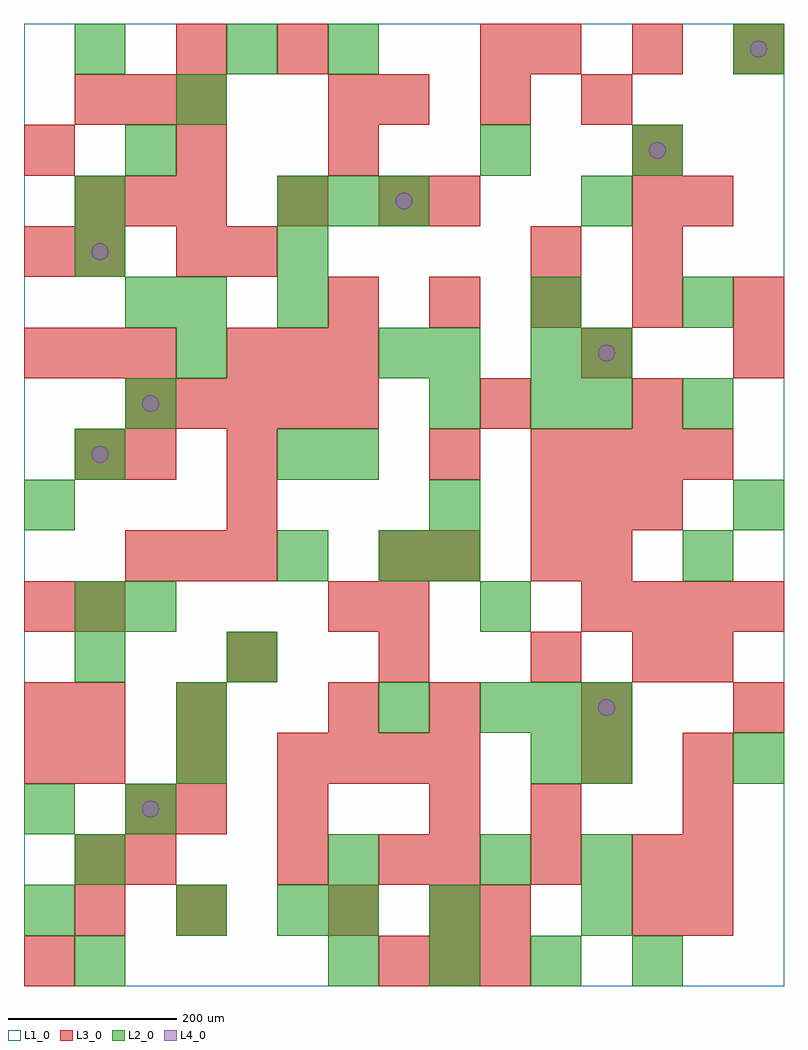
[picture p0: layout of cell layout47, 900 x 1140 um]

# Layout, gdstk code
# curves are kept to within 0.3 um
import gdstk
lib = gdstk.Library(unit=1e-6, precision=1e-09)
def R(c, l, rs):  # rectangles x0, y0, x1, y1
    for r in rs: c.add(gdstk.rectangle(r[:2], r[2:], *l))
def A(c, l, x, y, w, h, nx, ny, dx, dy):  # array of equal rectangles
    R(c, l, [(x+i*dx, y+j*dy, x+i*dx+w, y+j*dy+h) for i in range(nx) for j in range(ny)])
def P(c, l, *ps):  # polygons
    for p in ps: c.add(gdstk.Polygon(p, *l))
L1_0 = (1, 0)
L2_0 = (2, 0)
L3_0 = (3, 0)
L4_0 = (4, 0)

layout47 = lib.new_cell('layout47')
R(layout47, L1_0, [(0,0,900,1140)])
A(layout47, L2_0, 360, 0, 60, 60, 4, 1, 120, 0)
A(layout47, L2_0, 360, 120, 60, 60, 1, 3, 0, 480)
A(layout47, L2_0, 120, 180, 60, 60, 1, 3, 0, 240)
A(layout47, L2_0, 540, 300, 60, 60, 3, 1, 60, 0)
A(layout47, L2_0, 600, 660, 60, 60, 1, 3, 0, 60)
A(layout47, L2_0, 300, 900, 60, 60, 3, 1, 60, 0)
R(layout47, L2_0, [(60,0,120,60), (0,60,60,120), (180,60,240,120), (300,60,360,120), (360,60,420,120), (480,60,540,120), (660,60,720,120), (60,120,120,180), (540,120,600,180), (660,120,720,180), (0,180,60,240), (180,240,240,300), (600,240,660,300), (660,240,720,300), (840,240,900,300), (180,300,240,360), (420,300,480,360), (60,360,120,420), (240,360,300,420), (60,420,120,480), (540,420,600,480), (300,480,360,540), (420,480,480,540), (480,480,540,540), (780,480,840,540), (0,540,60,600), (480,540,540,600), (840,540,900,600), (60,600,120,660), (300,600,360,660), (480,660,540,720), (660,660,720,720), (780,660,840,720), (180,720,240,780), (420,720,480,780), (480,720,540,780), (660,720,720,780), (120,780,180,840), (180,780,240,840), (300,780,360,840), (780,780,840,840), (60,840,120,900), (300,840,360,900), (60,900,120,960), (660,900,720,960), (120,960,180,1020), (540,960,600,1020), (720,960,780,1020), (180,1020,240,1080), (60,1080,120,1140), (240,1080,300,1140), (840,1080,900,1140)])
A(layout47, L3_0, 420, 0, 60, 60, 3, 1, 60, 0)
A(layout47, L3_0, 180, 60, 60, 60, 1, 3, 0, 120)
A(layout47, L3_0, 720, 60, 60, 60, 1, 3, 0, 300)
A(layout47, L3_0, 780, 60, 60, 60, 1, 4, 0, 60)
A(layout47, L3_0, 480, 120, 60, 60, 3, 1, 120, 0)
A(layout47, L3_0, 60, 240, 60, 60, 3, 1, 120, 0)
A(layout47, L3_0, 360, 240, 60, 60, 3, 1, 60, 0)
A(layout47, L3_0, 660, 240, 60, 60, 1, 3, 0, 240)
A(layout47, L3_0, 480, 300, 60, 60, 3, 1, 180, 0)
A(layout47, L3_0, 240, 360, 60, 60, 3, 1, 180, 0)
A(layout47, L3_0, 660, 420, 60, 60, 4, 1, 60, 0)
A(layout47, L3_0, 120, 480, 60, 60, 3, 1, 60, 0)
A(layout47, L3_0, 600, 540, 60, 60, 3, 1, 60, 0)
A(layout47, L3_0, 600, 600, 60, 60, 4, 1, 60, 0)
A(layout47, L3_0, 120, 660, 60, 60, 5, 1, 60, 0)
A(layout47, L3_0, 0, 720, 60, 60, 3, 1, 60, 0)
A(layout47, L3_0, 240, 720, 60, 60, 3, 1, 60, 0)
A(layout47, L3_0, 360, 780, 60, 60, 5, 1, 120, 0)
A(layout47, L3_0, 720, 840, 60, 60, 1, 3, 0, 60)
A(layout47, L3_0, 60, 900, 60, 60, 3, 2, 60, 120)
A(layout47, L3_0, 0, 960, 60, 60, 3, 1, 180, 0)
A(layout47, L3_0, 420, 1020, 60, 60, 3, 1, 120, 0)
A(layout47, L3_0, 600, 1080, 60, 60, 3, 1, 120, 0)
R(layout47, L3_0, [(0,0,60,60), (60,60,120,120), (360,60,420,120), (480,60,540,120), (540,60,600,120), (60,120,120,180), (120,120,180,180), (300,120,360,180), (420,120,480,180), (120,180,180,240), (300,180,360,240), (480,180,540,240), (600,180,660,240), (0,240,60,300), (0,300,60,360), (60,300,120,360), (360,300,420,360), (780,360,840,420), (0,420,60,480), (60,420,120,480), (360,420,420,480), (420,420,480,480), (420,480,480,540), (480,480,540,540), (600,480,660,540), (240,540,300,600), (60,600,120,660), (120,600,180,660), (240,600,300,660), (480,600,540,660), (540,660,600,720), (840,720,900,780), (0,840,60,900), (60,840,120,900), (180,840,240,900), (240,840,300,900), (600,840,660,900), (300,900,360,960), (420,900,480,960), (480,900,540,960), (780,900,840,960), (360,1020,420,1080), (180,1080,240,1140), (300,1080,360,1140), (540,1080,600,1140)])
P(layout47, L4_0, [(100,630),(99.239,633.827),(97.071,637.071),(93.827,639.239),(90,640),(86.173,639.239),(82.929,637.071),(80.761,633.827),(80,630),(80.761,626.173),(82.929,622.929),(86.173,620.761),(90,620),(93.827,620.761),(97.071,622.929),(99.239,626.173)],
  [(100,870),(99.239,873.827),(97.071,877.071),(93.827,879.239),(90,880),(86.173,879.239),(82.929,877.071),(80.761,873.827),(80,870),(80.761,866.173),(82.929,862.929),(86.173,860.761),(90,860),(93.827,860.761),(97.071,862.929),(99.239,866.173)],
  [(160,210),(159.239,213.827),(157.071,217.071),(153.827,219.239),(150,220),(146.173,219.239),(142.929,217.071),(140.761,213.827),(140,210),(140.761,206.173),(142.929,202.929),(146.173,200.761),(150,200),(153.827,200.761),(157.071,202.929),(159.239,206.173)],
  [(160,690),(159.239,693.827),(157.071,697.071),(153.827,699.239),(150,700),(146.173,699.239),(142.929,697.071),(140.761,693.827),(140,690),(140.761,686.173),(142.929,682.929),(146.173,680.761),(150,680),(153.827,680.761),(157.071,682.929),(159.239,686.173)],
  [(460,930),(459.239,933.827),(457.071,937.071),(453.827,939.239),(450,940),(446.173,939.239),(442.929,937.071),(440.761,933.827),(440,930),(440.761,926.173),(442.929,922.929),(446.173,920.761),(450,920),(453.827,920.761),(457.071,922.929),(459.239,926.173)],
  [(700,330),(699.239,333.827),(697.071,337.071),(693.827,339.239),(690,340),(686.173,339.239),(682.929,337.071),(680.761,333.827),(680,330),(680.761,326.173),(682.929,322.929),(686.173,320.761),(690,320),(693.827,320.761),(697.071,322.929),(699.239,326.173)],
  [(700,750),(699.239,753.827),(697.071,757.071),(693.827,759.239),(690,760),(686.173,759.239),(682.929,757.071),(680.761,753.827),(680,750),(680.761,746.173),(682.929,742.929),(686.173,740.761),(690,740),(693.827,740.761),(697.071,742.929),(699.239,746.173)],
  [(760,990),(759.239,993.827),(757.071,997.071),(753.827,999.239),(750,1000),(746.173,999.239),(742.929,997.071),(740.761,993.827),(740,990),(740.761,986.173),(742.929,982.929),(746.173,980.761),(750,980),(753.827,980.761),(757.071,982.929),(759.239,986.173)],
  [(880,1110),(879.239,1113.827),(877.071,1117.071),(873.827,1119.239),(870,1120),(866.173,1119.239),(862.929,1117.071),(860.761,1113.827),(860,1110),(860.761,1106.173),(862.929,1102.929),(866.173,1100.761),(870,1100),(873.827,1100.761),(877.071,1102.929),(879.239,1106.173)])

lib.write_gds('layout47.gds')
